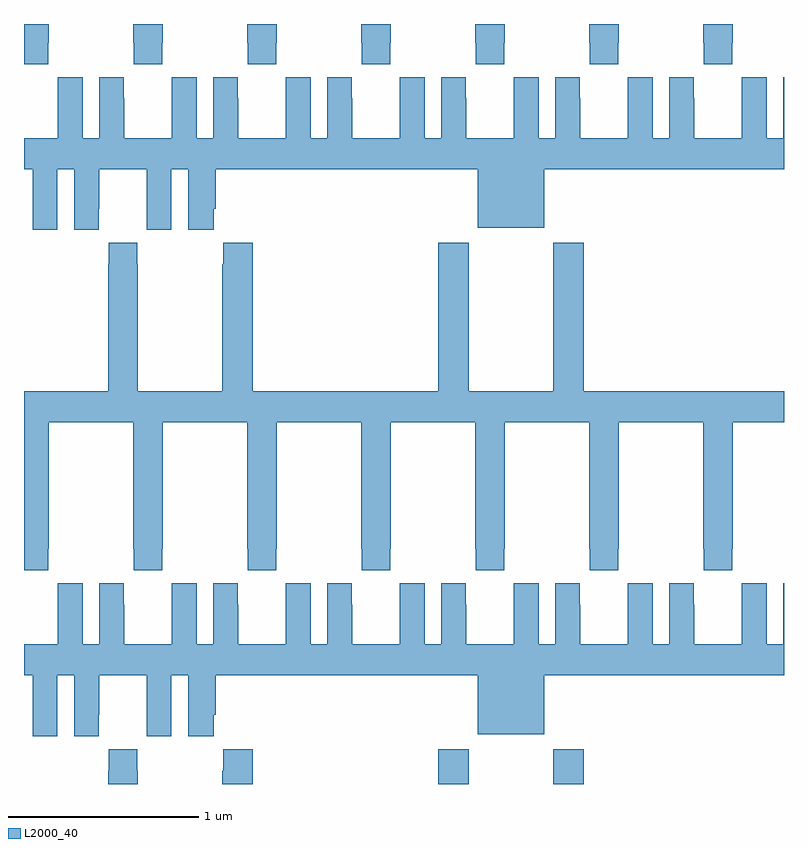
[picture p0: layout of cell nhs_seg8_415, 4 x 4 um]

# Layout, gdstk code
import gdstk
lib = gdstk.Library(unit=1e-6, precision=1e-09)
def R(c, l, rs):  # rectangles x0, y0, x1, y1
    for r in rs: c.add(gdstk.rectangle(r[:2], r[2:], *l))
def P(c, l, *ps):  # polygons
    for p in ps: c.add(gdstk.Polygon(p, *l))
L2000_40 = (2000, 40)

nhs_seg8_415 = lib.new_cell('nhs_seg8_415')
R(nhs_seg8_415, L2000_40, [(139.181,1143.9,139.341,1144.084), (139.786,1143.9,139.946,1144.084)])
P(nhs_seg8_415, L2000_40, [(137.127,1147.801),(137.13,1147.801),(137.13,1147.9),(137,1147.9),(137,1147.689),(137.127,1147.689)],
  [(137.727,1147.801),(137.73,1147.801),(137.73,1147.9),(137.575,1147.9),(137.575,1147.801),(137.577,1147.801),(137.577,1147.689),(137.727,1147.689)],
  [(138.327,1147.801),(138.33,1147.801),(138.33,1147.9),(138.175,1147.9),(138.175,1147.801),(138.177,1147.801),(138.177,1147.689),(138.327,1147.689)],
  [(138.927,1147.801),(138.93,1147.801),(138.93,1147.9),(138.775,1147.9),(138.775,1147.801),(138.777,1147.801),(138.777,1147.689),(138.927,1147.689)],
  [(139.527,1147.801),(139.53,1147.801),(139.53,1147.9),(139.375,1147.9),(139.375,1147.801),(139.377,1147.801),(139.377,1147.689),(139.527,1147.689)],
  [(140.127,1147.801),(140.13,1147.801),(140.13,1147.9),(139.975,1147.9),(139.975,1147.801),(139.977,1147.801),(139.977,1147.689),(140.127,1147.689)],
  [(140.727,1147.801),(140.73,1147.801),(140.73,1147.9),(140.575,1147.9),(140.575,1147.801),(140.577,1147.801),(140.577,1147.689),(140.727,1147.689)],
  [(139.738,1147.136),(141,1147.136),(141,1147.621),(140.996,1147.621),(140.996,1147.3),(140.908,1147.3),(140.908,1147.621),(140.778,1147.621),(140.778,1147.508),(140.777,1147.508),(140.777,1147.3),(140.527,1147.3),(140.527,1147.508),(140.526,1147.508),(140.526,1147.621),(140.396,1147.621),(140.396,1147.3),(140.308,1147.3),(140.308,1147.621),(140.178,1147.621),(140.178,1147.508),(140.177,1147.508),(140.177,1147.3),(139.927,1147.3),(139.927,1147.508),(139.926,1147.508),(139.926,1147.621),(139.796,1147.621),(139.796,1147.3),(139.708,1147.3),(139.708,1147.621),(139.578,1147.621),(139.578,1147.508),(139.577,1147.508),(139.577,1147.3),(139.327,1147.3),(139.327,1147.508),(139.326,1147.508),(139.326,1147.621),(139.196,1147.621),(139.196,1147.3),(139.108,1147.3),(139.108,1147.621),(138.978,1147.621),(138.978,1147.508),(138.977,1147.508),(138.977,1147.3),(138.727,1147.3),(138.727,1147.508),(138.726,1147.508),(138.726,1147.621),(138.596,1147.621),(138.596,1147.3),(138.508,1147.3),(138.508,1147.621),(138.378,1147.621),(138.378,1147.508),(138.377,1147.508),(138.377,1147.3),(138.127,1147.3),(138.127,1147.508),(138.126,1147.508),(138.126,1147.621),(137.996,1147.621),(137.996,1147.3),(137.908,1147.3),(137.908,1147.621),(137.778,1147.621),(137.778,1147.508),(137.777,1147.508),(137.777,1147.3),(137.527,1147.3),(137.527,1147.508),(137.526,1147.508),(137.526,1147.621),(137.396,1147.621),(137.396,1147.3),(137.308,1147.3),(137.308,1147.621),(137.178,1147.621),(137.178,1147.508),(137.177,1147.508),(137.177,1147.3),(137,1147.3),(137,1147.136),(137.045,1147.136),(137.045,1146.928),(137.046,1146.928),(137.046,1146.816),(137.176,1146.816),(137.176,1147.136),(137.264,1147.136),(137.264,1146.816),(137.394,1146.816),(137.394,1146.928),(137.395,1146.928),(137.395,1147.136),(137.645,1147.136),(137.645,1146.928),(137.646,1146.928),(137.646,1146.816),(137.776,1146.816),(137.776,1147.136),(137.864,1147.136),(137.864,1146.816),(137.998,1146.816),(137.998,1146.928),(138.008,1146.928),(138.008,1147.136),(139.388,1147.136),(139.388,1146.827),(139.738,1146.827)],
  [(139.341,1146.748),(139.181,1146.748),(139.181,1145.968),(138.203,1145.968),(138.203,1146.748),(138.049,1146.748),(138.049,1146.635),(138.043,1146.635),(138.043,1145.968),(137.598,1145.968),(137.598,1146.635),(137.595,1146.635),(137.595,1146.748),(137.445,1146.748),(137.445,1146.635),(137.443,1146.635),(137.443,1145.968),(137,1145.968),(137,1145.025),(137.127,1145.025),(137.127,1145.137),(137.13,1145.137),(137.13,1145.804),(137.575,1145.804),(137.575,1145.137),(137.577,1145.137),(137.577,1145.025),(137.727,1145.025),(137.727,1145.137),(137.73,1145.137),(137.73,1145.804),(138.175,1145.804),(138.175,1145.137),(138.177,1145.137),(138.177,1145.025),(138.327,1145.025),(138.327,1145.137),(138.33,1145.137),(138.33,1145.804),(138.775,1145.804),(138.775,1145.137),(138.777,1145.137),(138.777,1145.025),(138.927,1145.025),(138.927,1145.137),(138.93,1145.137),(138.93,1145.804),(139.375,1145.804),(139.375,1145.137),(139.377,1145.137),(139.377,1145.025),(139.527,1145.025),(139.527,1145.137),(139.53,1145.137),(139.53,1145.804),(139.975,1145.804),(139.975,1145.137),(139.977,1145.137),(139.977,1145.025),(140.127,1145.025),(140.127,1145.137),(140.13,1145.137),(140.13,1145.804),(140.575,1145.804),(140.575,1145.137),(140.577,1145.137),(140.577,1145.025),(140.727,1145.025),(140.727,1145.137),(140.73,1145.137),(140.73,1145.804),(141,1145.804),(141,1145.968),(139.946,1145.968),(139.946,1146.748),(139.786,1146.748),(139.786,1145.968),(139.341,1145.968)],
  [(141,1144.957),(140.996,1144.957),(140.996,1144.636),(140.908,1144.636),(140.908,1144.957),(140.778,1144.957),(140.778,1144.844),(140.777,1144.844),(140.777,1144.636),(140.527,1144.636),(140.527,1144.844),(140.526,1144.844),(140.526,1144.957),(140.396,1144.957),(140.396,1144.636),(140.308,1144.636),(140.308,1144.957),(140.178,1144.957),(140.178,1144.844),(140.177,1144.844),(140.177,1144.636),(139.927,1144.636),(139.927,1144.844),(139.926,1144.844),(139.926,1144.957),(139.796,1144.957),(139.796,1144.636),(139.708,1144.636),(139.708,1144.957),(139.578,1144.957),(139.578,1144.844),(139.577,1144.844),(139.577,1144.636),(139.327,1144.636),(139.327,1144.844),(139.326,1144.844),(139.326,1144.957),(139.196,1144.957),(139.196,1144.636),(139.108,1144.636),(139.108,1144.957),(138.978,1144.957),(138.978,1144.844),(138.977,1144.844),(138.977,1144.636),(138.727,1144.636),(138.727,1144.844),(138.726,1144.844),(138.726,1144.957),(138.596,1144.957),(138.596,1144.636),(138.508,1144.636),(138.508,1144.957),(138.378,1144.957),(138.378,1144.844),(138.377,1144.844),(138.377,1144.636),(138.127,1144.636),(138.127,1144.844),(138.126,1144.844),(138.126,1144.957),(137.996,1144.957),(137.996,1144.636),(137.908,1144.636),(137.908,1144.957),(137.778,1144.957),(137.778,1144.844),(137.777,1144.844),(137.777,1144.636),(137.527,1144.636),(137.527,1144.844),(137.526,1144.844),(137.526,1144.957),(137.396,1144.957),(137.396,1144.636),(137.308,1144.636),(137.308,1144.957),(137.178,1144.957),(137.178,1144.844),(137.177,1144.844),(137.177,1144.636),(137,1144.636),(137,1144.472),(137.045,1144.472),(137.045,1144.264),(137.046,1144.264),(137.046,1144.152),(137.176,1144.152),(137.176,1144.472),(137.264,1144.472),(137.264,1144.152),(137.394,1144.152),(137.394,1144.264),(137.395,1144.264),(137.395,1144.472),(137.645,1144.472),(137.645,1144.264),(137.646,1144.264),(137.646,1144.152),(137.776,1144.152),(137.776,1144.472),(137.864,1144.472),(137.864,1144.152),(137.998,1144.152),(137.998,1144.264),(138.008,1144.264),(138.008,1144.472),(139.388,1144.472),(139.388,1144.163),(139.738,1144.163),(139.738,1144.472),(141,1144.472)],
  [(137.598,1143.971),(137.595,1143.971),(137.595,1144.084),(137.445,1144.084),(137.445,1143.971),(137.443,1143.971),(137.443,1143.9),(137.598,1143.9)],
  [(138.203,1144.084),(138.049,1144.084),(138.049,1143.971),(138.043,1143.971),(138.043,1143.9),(138.203,1143.9)])

lib.write_gds('nhs_seg8_415.gds')
